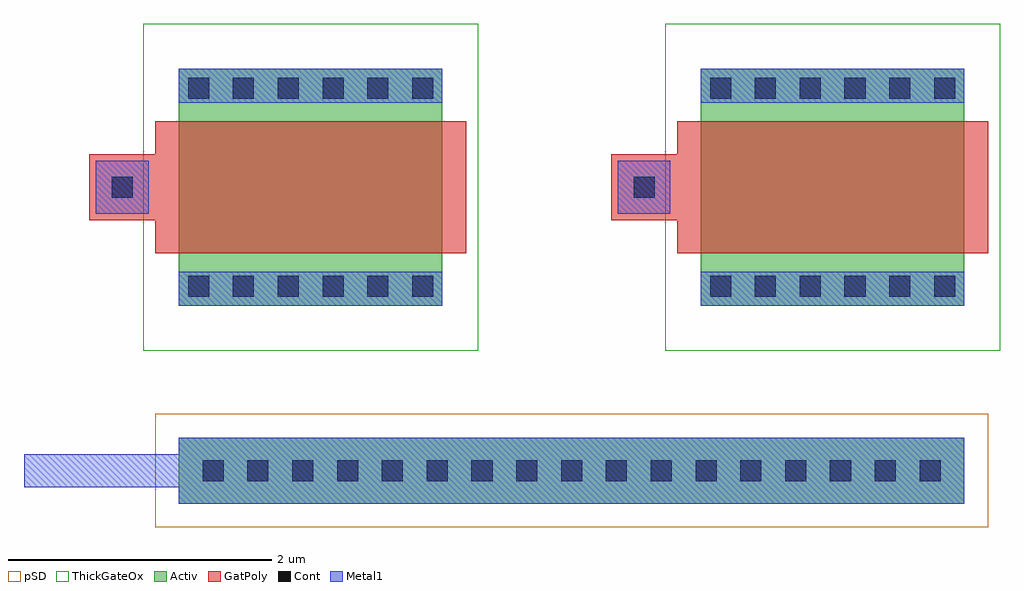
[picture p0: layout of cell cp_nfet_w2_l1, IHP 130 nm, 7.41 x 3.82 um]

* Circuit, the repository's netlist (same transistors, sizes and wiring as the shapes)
* extracted by klt extract --deck sg13cmos5l

* cell cp_nfet_w2_l1
* pin vsubs
.SUBCKT cp_nfet_w2_l1 vsubs
* device instance $1 r0 *1 2.3,3.36 nfet
X$1 \$3 \$1 \$4 vsubs sg13_hv_nmos L=1U W=2U AS=0.8P AD=0.8P PS=4.8U PD=4.8U
* device instance $2 r0 *1 6.26,3.36 nfet
X$2 \$5 \$2 \$6 vsubs sg13_hv_nmos L=1U W=2U AS=0.8P AD=0.8P PS=4.8U PD=4.8U
.ENDS cp_nfet_w2_l1

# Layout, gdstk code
import gdstk
lib = gdstk.Library(unit=1e-6, precision=1e-09)
def R(c, l, rs):  # rectangles x0, y0, x1, y1
    for r in rs: c.add(gdstk.rectangle(r[:2], r[2:], *l))
def A(c, l, x, y, w, h, nx, ny, dx, dy):  # array of equal rectangles
    R(c, l, [(x+i*dx, y+j*dy, x+i*dx+w, y+j*dy+h) for i in range(nx) for j in range(ny)])
Activ = (1, 0)
GatPoly = (5, 0)
Cont = (6, 0)
Metal1 = (8, 0)
pSD = (14, 0)
ThickGateOx = (44, 0)

cp_nfet_w2_l1 = lib.new_cell('cp_nfet_w2_l1')
R(cp_nfet_w2_l1, Activ, [(1.3,0.96,7.26,1.46), (1.3,2.46,3.3,4.26), (5.26,2.46,7.26,4.26)])
R(cp_nfet_w2_l1, GatPoly, [(1.12,2.86,3.48,3.86), (5.08,2.86,7.44,3.86), (0.62,3.11,1.12,3.61), (4.58,3.11,5.08,3.61)])
A(cp_nfet_w2_l1, Cont, 1.48, 1.13, 0.16, 0.16, 17, 1, 0.34, 0)
A(cp_nfet_w2_l1, Cont, 1.37, 2.53, 0.16, 0.16, 6, 2, 0.34, 1.5)
A(cp_nfet_w2_l1, Cont, 5.33, 2.53, 0.16, 0.16, 6, 2, 0.34, 1.5)
R(cp_nfet_w2_l1, Cont, [(0.79,3.28,0.95,3.44), (4.75,3.28,4.91,3.44)])
R(cp_nfet_w2_l1, Metal1, [(1.3,0.96,7.26,1.46), (0.125,1.085,1.3,1.335), (1.3,2.46,3.3,2.72), (5.26,2.46,7.26,2.72), (0.67,3.16,1.07,3.56), (4.63,3.16,5.03,3.56), (1.3,4,3.3,4.26), (5.26,4,7.26,4.26)])
R(cp_nfet_w2_l1, pSD, [(1.12,0.78,7.44,1.64)])
R(cp_nfet_w2_l1, ThickGateOx, [(1.03,2.12,3.57,4.6), (4.99,2.12,7.53,4.6)])

lib.write_gds('cp_nfet_w2_l1.gds')
